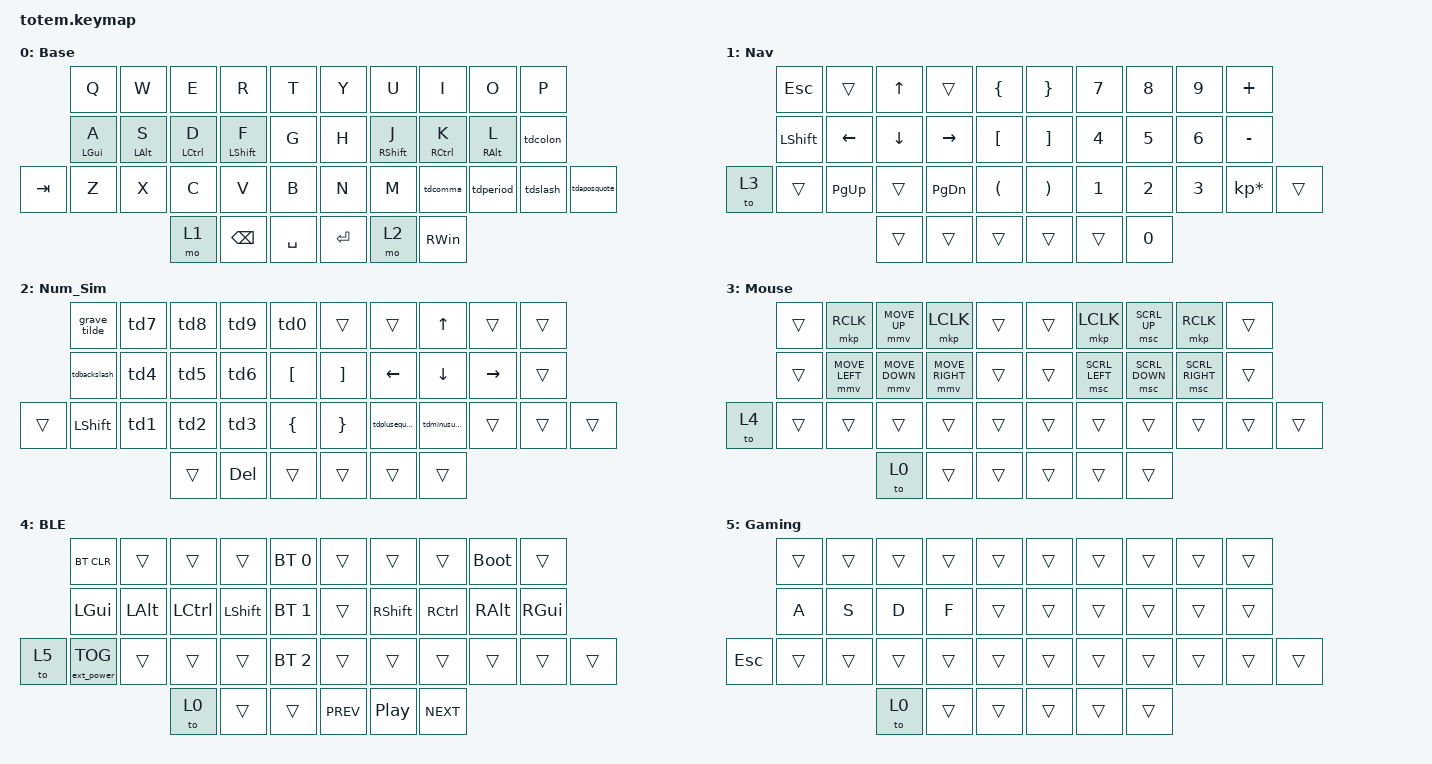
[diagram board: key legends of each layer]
//
//                                                        ▀▀▀▀▀     ▀▀▀▀▀          ▀▀█▀▀
//                                                        ▄▀▀▀▄  ▄  ▄▀▀▀▄  ▄  ▄▀▀▀▄  █  ▄▀▀▀▄
//                                                        █   █  █  █   █  █  █   █  █  █   █
//                                                         ▀▀▀   █   ▀▀▀   █   ▀▀▀   ▀   ▀▀▀
//                                                               █      ▄▄▄█▄▄▄    █   █  
//                                                               ▀      █  █  █     █▄█
//                                                             ▀▀▀▀▀    █  █  █      ▀
//                                                                      ▀  ▀  ▀
//
// ▄▄▄▄▄▄▄▄▄▄▄▄▄▄▄▄▄▄▄▄▄▄▄▄▄▄▄▄▄▄▄▄▄▄▄▄▄▄▄▄▄▄▄▄▄▄▄▄▄▄▄▄▄▄▄▄▄▄▄▄▄▄▄▄▄▄▄▄▄▄▄▄▄▄▄▄▄▄▄▄▄▄▄▄▄▄▄▄▄▄▄▄▄▄▄▄▄▄▄▄▄▄▄▄▄▄▄▄▄▄▄▄▄▄▄▄▄▄▄▄▄▄▄▄▄▄▄▄▄▄▄▄▄▄▄▄▄▄▄▄▄▄▄▄▄▄▄▄▄

#include <dt-bindings/zmk/mouse.h>
#include <behaviors.dtsi>
#include <dt-bindings/zmk/bt.h>
#include <dt-bindings/zmk/ext_power.h>
#include <dt-bindings/zmk/keys.h>
#include <dt-bindings/zmk/pointing.h>

#define Base        0
#define Media       1
#define Nav         2
#define Mouse       3
#define Sym         4
#define Num         5
#define Fun         6
#define Button      7
#define Game        8
#define Gameplus    9
#define ZMK_MOUSE_DEFAULT_MOVE_VAL 2000  // 600
#define ZMK_MOUSE_DEFAULT_SCRL_VAL 200    // 10

&mt {
    quick-tap-ms = <100>;
    global-quick-tap;
    flavor = "tap-preferred";
    tapping-term-ms = <170>;
};

&lt {
    tapping-term-ms = <240>;
    flavor = "balanced";
    quick-tap-ms = <150>;
};

&msc {
    acceleration-exponent = <1>;      // 0
    time-to-max-speed-ms = <400>;      // 300
    delay-ms = <0>;                   // 0
};

/ {
    behaviors {
        hm: homerow_mods {
            compatible = "zmk,behavior-hold-tap";
            label = "HOMEROW_MODS";
            #binding-cells = <2>;
            flavor = "tap-preferred";
            tapping-term-ms = <200>;
            quick-tap-ms = <125>;
            global-quick-tap;
            bindings = <&kp>, <&kp>;
        };

        td1: td1 {
            compatible = "zmk,behavior-tap-dance";
            label = "TD1";
            #binding-cells = <0>;
            tapping-term-ms = <200>;
            bindings = <&kp N1>, <&kp EXCL>;
        };

        td2: td2 {
            compatible = "zmk,behavior-tap-dance";
            label = "TD2";
            #binding-cells = <0>;
            tapping-term-ms = <150>;
            bindings = <&kp N2>, <&kp AT>;
        };

        td3: td3 {
            compatible = "zmk,behavior-tap-dance";
            label = "TD3";
            #binding-cells = <0>;
            tapping-term-ms = <150>;
            bindings = <&kp NUMBER_3>, <&kp HASH>;
        };

        td4: td4 {
            compatible = "zmk,behavior-tap-dance";
            label = "TD4";
            #binding-cells = <0>;
            tapping-term-ms = <150>;
            bindings = <&kp NUMBER_4>, <&kp DOLLAR>;
        };

        td5: td5 {
            compatible = "zmk,behavior-tap-dance";
            label = "TD5";
            #binding-cells = <0>;
            tapping-term-ms = <150>;
            bindings = <&kp N5>, <&kp PERCENT>;
        };

        td6: td6 {
            compatible = "zmk,behavior-tap-dance";
            label = "TD6";
            #binding-cells = <0>;
            tapping-term-ms = <150>;
            bindings = <&kp NUMBER_6>, <&kp CARET>;
        };

        td7: td7 {
            compatible = "zmk,behavior-tap-dance";
            label = "TD7";
            #binding-cells = <0>;
            tapping-term-ms = <150>;
            bindings = <&kp N7>, <&kp AMPERSAND>;
        };

        td8: td8 {
            compatible = "zmk,behavior-tap-dance";
            label = "TD8";
            #binding-cells = <0>;
            tapping-term-ms = <150>;
            bindings = <&kp N8>, <&kp ASTRK>;
        };

        td9: td9 {
            compatible = "zmk,behavior-tap-dance";
            label = "TD9";
            #binding-cells = <0>;
            tapping-term-ms = <150>;
            bindings = <&kp N9>, <&kp LEFT_PARENTHESIS>;
        };

        td0: td0 {
            compatible = "zmk,behavior-tap-dance";
            label = "TD0";
            #binding-cells = <0>;
            tapping-term-ms = <150>;
            bindings = <&kp N0>, <&kp RIGHT_PARENTHESIS>;
        };

        tdperiod: tdperiod {
            compatible = "zmk,behavior-tap-dance";
            label = "TDPERIOD";
            #binding-cells = <0>;
            tapping-term-ms = <150>;
            bindings = <&kp PERIOD>, <&kp GREATER_THAN>;
        };

        tdslash: tdslash {
            compatible = "zmk,behavior-tap-dance";
            label = "TDSLASH";
            #binding-cells = <0>;
            tapping-term-ms = <150>;
            bindings = <&kp SLASH>, <&kp QUESTION>;
        };

        tdcomma: tdcomma {
            compatible = "zmk,behavior-tap-dance";
            label = "TDCOMMA";
            #binding-cells = <0>;
            tapping-term-ms = <150>;
            bindings = <&kp COMMA>, <&kp LESS_THAN>;
        };

        tdplusequals: tdplusequals {
            compatible = "zmk,behavior-tap-dance";
            label = "TDPLUSEQUALS";
            #binding-cells = <0>;
            tapping-term-ms = <150>;
            bindings = <&kp EQUAL>, <&kp PLUS>;
        };

        tdminusunderscore: tdminusunderscore {
            compatible = "zmk,behavior-tap-dance";
            label = "TDMINUSUNDERSCORE";
            #binding-cells = <0>;
            tapping-term-ms = <150>;
            bindings = <&kp MINUS>, <&kp UNDER>;
        };

        tdaposquote: tdaposquote {
            compatible = "zmk,behavior-tap-dance";
            label = "TDAPOSQUOTE";
            #binding-cells = <0>;
            tapping-term-ms = <150>;
            bindings = <&kp APOS>, <&kp DOUBLE_QUOTES>;
        };

        tdcolon: tdcolon {
            compatible = "zmk,behavior-tap-dance";
            label = "TDCOLON";
            #binding-cells = <0>;
            tapping-term-ms = <150>;
            bindings = <&kp SEMI>, <&kp COLON>;
        };

        tdbracketL: tdbracketL {
            compatible = "zmk,behavior-tap-dance";
            label = "TDBRACKETL";
            #binding-cells = <0>;
            tapping-term-ms = <150>;
            bindings = <&kp LEFT_BRACKET>, <&kp LEFT_BRACE>;
        };

        tdbracketR: tdbracketR {
            compatible = "zmk,behavior-tap-dance";
            label = "TDBRACKETR";
            #binding-cells = <0>;
            tapping-term-ms = <150>;
            bindings = <&kp RIGHT_BRACKET>, <&kp RIGHT_BRACE>;
        };

        tdbackslash: tdbackslash {
            compatible = "zmk,behavior-tap-dance";
            label = "TDBACKSLASH";
            #binding-cells = <0>;
            tapping-term-ms = <150>;
            bindings = <&kp BACKSLASH>, <&kp PIPE>;
        };

        tdgrave: tdgrave {
            compatible = "zmk,behavior-tap-dance";
            label = "TDGRAVE";
            #binding-cells = <0>;
            tapping-term-ms = <150>;
            bindings = <&kp GRAVE>, <&kp TILDE>;
        };

        layerTapHold: layerTapHold {
            compatible = "zmk,behavior-hold-tap";
            label = "LAYERTAPHOLD";
            bindings = <&mo>, <&tog>;

            #binding-cells = <2>;
            tapping-term-ms = <200>;
            hold-trigger-key-positions = <36>;
        };

        grave_tilde: grave_tilde {
            compatible = "zmk,behavior-tap-dance";
            label = "GRAVE_TILDE";
            #binding-cells = <0>;
            bindings = <&kp GRAVE>, <&kp TILDE>;
        };
    };

    combos { compatible = "zmk,combos"; };

    keymap {
        compatible = "zmk,keymap";

        Base {
            label = "Base";
            bindings = <
         &kp Q       &kp W       &kp E        &kp R          &kp T        &kp Y    &kp U        &kp I          &kp O       &kp P
         &hm LGUI A  &hm LALT S  &hm LCTRL D  &hm LSHIFT F   &kp G        &kp H    &hm RSHFT J  &hm RCTRL K    &hm RALT L  &tdcolon
&kp TAB  &kp Z       &kp X       &kp C        &kp V          &kp B        &kp N    &kp M        &tdcomma       &tdperiod   &tdslash  &tdaposquote
                                 &mo 1        &kp BACKSPACE  &kp SPACE    &kp RET  &mo 2        &kp RIGHT_WIN
            >;
        };

        Nav {
            label = "Nav";
            bindings = <
       &kp ESC         &trans       &kp UP_ARROW  &trans     &kp LBRC    &kp RBRC  &kp NUMBER_7  &kp NUMBER_8  &kp NUMBER_9  &kp PLUS
       &kp LEFT_SHIFT  &kp LEFT     &kp DOWN      &kp RIGHT  &kp LBKT    &kp RBKT  &kp NUMBER_4  &kp NUMBER_5  &kp NUMBER_6  &kp MINUS
&to 3  &trans          &kp PAGE_UP  &trans        &kp PG_DN  &kp LPAR    &kp RPAR  &kp NUMBER_1  &kp NUMBER_2  &kp NUMBER_3  &kp KP_MULTIPLY  &trans
                                    &trans        &trans     &trans      &trans    &trans        &kp NUMBER_0
            >;
        };

        Num_Sim {
            label = "Num_Sim";
            bindings = <
        &grave_tilde    &td7  &td8    &td9     &td0                &trans             &trans         &kp UP              &trans     &trans
        &tdbackslash    &td4  &td5    &td6     &kp LEFT_BRACKET    &kp RIGHT_BRACKET  &kp LEFT       &kp DOWN            &kp RIGHT  &trans
&trans  &kp LEFT_SHIFT  &td1  &td2    &td3     &kp LEFT_BRACE      &kp RIGHT_BRACE    &tdplusequals  &tdminusunderscore  &trans     &trans  &trans
                              &trans  &kp DEL  &trans              &trans             &trans         &trans
            >;
        };

        Mouse {
            label = "Mouse";
            bindings = <
       &trans  &mkp RCLK       &mmv MOVE_UP    &mkp LCLK        &trans    &trans  &mkp LCLK       &msc SCRL_UP    &mkp RCLK        &trans
       &trans  &mmv MOVE_LEFT  &mmv MOVE_DOWN  &mmv MOVE_RIGHT  &trans    &trans  &msc SCRL_LEFT  &msc SCRL_DOWN  &msc SCRL_RIGHT  &trans
&to 4  &trans  &trans          &trans          &trans           &trans    &trans  &trans          &trans          &trans           &trans  &trans
                               &to 0           &trans           &trans    &trans  &trans          &trans
            >;
        };

        BLE {
            label = "BLE";
            bindings = <
       &bt BT_CLR         &trans    &trans     &trans      &bt BT_SEL 0    &trans      &trans            &trans      &bootloader  &trans
       &kp LGUI           &kp LALT  &kp LCTRL  &kp LSHIFT  &bt BT_SEL 1    &trans      &kp RSHIFT        &kp RCTRL   &kp RALT     &kp RGUI
&to 5  &ext_power EP_TOG  &trans    &trans     &trans      &bt BT_SEL 2    &trans      &trans            &trans      &trans       &trans    &trans
                                    &to 0      &trans      &trans          &kp C_PREV  &kp C_PLAY_PAUSE  &kp C_NEXT
            >;
        };

        Gaming {
            bindings = <
            &trans  &trans  &trans  &trans  &trans    &trans  &trans  &trans  &trans  &trans
            &kp A   &kp S   &kp D   &kp F   &trans    &trans  &trans  &trans  &trans  &trans
&kp ESCAPE  &trans  &trans  &trans  &trans  &trans    &trans  &trans  &trans  &trans  &trans  &trans
                            &to 0   &trans  &trans    &trans  &trans  &trans
            >;

            label = "Gaming";
        };
    };
};
